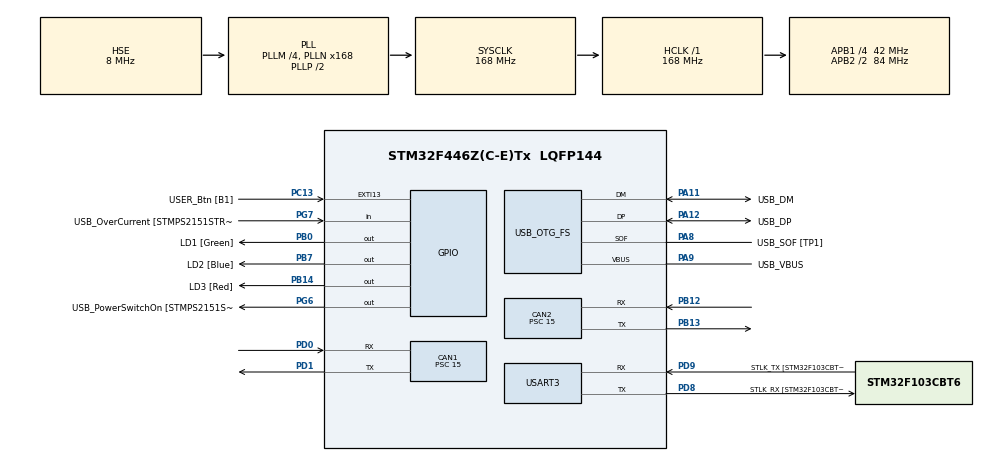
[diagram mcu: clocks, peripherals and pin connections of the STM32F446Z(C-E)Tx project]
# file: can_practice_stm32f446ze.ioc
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CAN1.BS1=CAN_BS1_2TQ
CAN1.BS2=CAN_BS2_2TQ
CAN1.CalculateBaudRate=560000
CAN1.CalculateTimeBit=1785
CAN1.CalculateTimeQuantum=357.14285714285717
CAN1.Prescaler=15
CAN2.BS1=CAN_BS1_2TQ
CAN2.BS2=CAN_BS2_2TQ
CAN2.CalculateBaudRate=560000
CAN2.CalculateTimeBit=1785
CAN2.CalculateTimeQuantum=357.14285714285717
CAN2.Prescaler=15
Mcu.Family=STM32F4
Mcu.Name=STM32F446Z(C-E)Tx
Mcu.Package=LQFP144
NVIC.CAN1_RX0_IRQn=true\:0\:0\:false\:false\:true\:true\:true
NVIC.CAN2_RX0_IRQn=true\:0\:0\:false\:false\:true\:true\:true
NVIC.PriorityGroup=NVIC_PRIORITYGROUP_4
PA10.GPIO_Label=USB_ID
PA10.Signal=USB_OTG_FS_ID
PA11.GPIO_Label=USB_DM
PA11.Mode=Device_Only
PA11.Signal=USB_OTG_FS_DM
PA12.GPIO_Label=USB_DP
PA12.Mode=Device_Only
PA12.Signal=USB_OTG_FS_DP
PA13.GPIO_Label=TMS
PA13.Mode=Serial_Wire
PA13.Signal=SYS_JTMS-SWDIO
PA14.GPIO_Label=TCK
PA14.Mode=Serial_Wire
PA14.Signal=SYS_JTCK-SWCLK
PA8.GPIO_Label=USB_SOF [TP1]
PA8.Mode=Activate_SOF_FS
PA8.Signal=USB_OTG_FS_SOF
PA9.GPIO_Label=USB_VBUS
PA9.Mode=Activate_VBUS
PA9.Signal=USB_OTG_FS_VBUS
PB0.GPIO_Label=LD1 [Green]
PB0.Signal=GPIO_Output
PB12.Mode=CAN_Activate
PB12.Signal=CAN2_RX
PB13.Mode=CAN_Activate
PB13.Signal=CAN2_TX
PB14.GPIO_Label=LD3 [Red]
PB14.Signal=GPIO_Output
PB7.GPIO_Label=LD2 [Blue]
PB7.Signal=GPIO_Output
PC13.GPIO_Label=USER_Btn [B1]
PC13.Signal=GPXTI13
PC14-OSC32_IN.Mode=LSE-External-Oscillator
PC14-OSC32_IN.Signal=RCC_OSC32_IN
PC15-OSC32_OUT.Mode=LSE-External-Oscillator
PC15-OSC32_OUT.Signal=RCC_OSC32_OUT
PD0.Mode=CAN_Activate
PD0.Signal=CAN1_RX
PD1.Mode=CAN_Activate
PD1.Signal=CAN1_TX
PD8.GPIO_Label=STLK_RX [STM32F103CBT6_PA3]
PD8.Mode=Asynchronous
PD8.Signal=USART3_TX
PD9.GPIO_Label=STLK_TX [STM32F103CBT6_PA2]
PD9.Mode=Asynchronous
PD9.Signal=USART3_RX
PG6.GPIO_Label=USB_PowerSwitchOn [STMPS2151STR_EN]
PG6.Signal=GPIO_Output
PG7.GPIO_Label=USB_OverCurrent [STMPS2151STR_FAULT]
PG7.Signal=GPIO_Input
PH0-OSC_IN.GPIO_Label=MCO [STM32F103CBT6_PA8]
PH0-OSC_IN.Mode=HSE-External-Clock-Source
PH0-OSC_IN.Signal=RCC_OSC_IN
PH1-OSC_OUT.Mode=HSE-External-Clock-Source
PH1-OSC_OUT.Signal=RCC_OSC_OUT
ProjectManager.HeapSize=0x200
ProjectManager.StackSize=0x400
ProjectManager.TargetToolchain=STM32CubeIDE
RCC.48MHZClocksFreq_Value=24000000
RCC.AHBFreq_Value=168000000
RCC.APB1CLKDivider=RCC_HCLK_DIV4
RCC.APB1Freq_Value=42000000
RCC.APB1TimFreq_Value=84000000
RCC.APB2CLKDivider=RCC_HCLK_DIV2
RCC.APB2Freq_Value=84000000
RCC.APB2TimFreq_Value=168000000
RCC.CortexFreq_Value=168000000
RCC.HCLKFreq_Value=168000000
RCC.HSE_VALUE=8000000
RCC.HSI_VALUE=16000000
RCC.PLLM=4
RCC.PLLMUL=RCC_PLL_MUL9
RCC.PLLN=168
RCC.PLLQ=7
RCC.PRESCALERUSB=RCC_USBCLKSOURCE_PLL_DIV1_5
RCC.SYSCLKFreq_VALUE=168000000
RCC.SYSCLKSource=RCC_SYSCLKSOURCE_PLLCLK
RCC.SYSCLKSourceVirtual=RCC_SYSCLKSOURCE_PLLCLK
RCC.USBFreq_Value=48000000
RCC.VCOOutputFreq_Value=336000000
USART3.VirtualMode=VM_ASYNC
USB_OTG_FS.VirtualMode=Device_Only
board=NUCLEO-F446ZE

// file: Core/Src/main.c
/* USER CODE BEGIN Header */
/**
  ******************************************************************************
  * @file           : main.c
  * @brief          : Main program body
  ******************************************************************************
  * @attention
  *
  * Copyright (c) 2022 STMicroelectronics.
  * All rights reserved.
  *
  * This software is licensed under terms that can be found in the LICENSE file
  * in the root directory of this software component.
  * If no LICENSE file comes with this software, it is provided AS-IS.
  *
  ******************************************************************************
  */
/* USER CODE END Header */
#include "main.h"
#include "can.h"
#include "usart.h"
#include "usb_otg.h"
#include "gpio.h"

/* USER CODE BEGIN Includes */
#include "can_task.h"
#include <string.h>
/* USER CODE END Includes */

/* USER CODE BEGIN PV */
uint8_t CAN1_TxData[8];
uint8_t CAN2_TxData[8];
uint8_t RxData0[8];
uint8_t RxData1[8];
CAN_RxHeaderTypeDef CAN1_RxHeader;

int rxfifo = -1;
/* USER CODE END PV */

void SystemClock_Config(void);
/* USER CODE BEGIN PFP */
void Blink_LED(const char* led_color, uint16_t on_duration, uint16_t off_duration);
/* USER CODE END PFP */

/* USER CODE BEGIN 0 */

void LedSteup()
{
	// Activate RX FIFO for each CAN
	HAL_CAN_Start(&hcan1);
	if (HAL_CAN_ActivateNotification(&hcan1, CAN_IT_RX_FIFO0_MSG_PENDING) != HAL_OK)
	{
		Error_Handler();
	}

	HAL_CAN_Start(&hcan2);
	if (HAL_CAN_ActivateNotification(&hcan2, CAN_IT_RX_FIFO0_MSG_PENDING) != HAL_OK)
	{
		Error_Handler();
	}
}

/*
 * Sends a message over the CAN bus from CAN2 to CAN1
 */
void LedLoop()
{
	uint8_t RxData[8];

	// Transmitting message over CAN2
	CAN2_TxData[0] = 50;
	CAN2_TxData[1] = 0xAA;
	CAN2_TxData[2] = 0x32;
	CAN2_TxData[3] = 0x55;

	CAN_write(&hcan2, 0x103, 4, CAN2_TxData);
	HAL_Delay(1);	// Delay so that message can be received by nodes

	if (rxfifo == 0)
	{
		memcpy(RxData, RxData0, sizeof(RxData0));
	}
	else if (rxfifo == 1)
	{
		memcpy(RxData, RxData1, sizeof(RxData1));
	}

	// Reading the message transmitted from CAN2
	if (CAN1_RxHeader.StdId == 0x103 && RxData[0] == 50)
	{
		// Blink the GREEN LED
		Blink_LED("green", 500, 500);
	}

	HAL_Delay(1);

	// Transmitting message over CAN1
	CAN1_TxData[0] = 20;
	CAN1_TxData[1] = 0xAA;

	CAN_write(&hcan1, 0x446, 2, CAN1_TxData);
	HAL_Delay(1);	// Delay so that message can be received by nodes

	if (rxfifo == 0)
	{
		memcpy(RxData, RxData0, sizeof(RxData0));
	}
	else if (rxfifo == 1)
	{
		memcpy(RxData, RxData1, sizeof(RxData1));
	}

	// Reading the message transmitted from CAN1
	if (CAN1_RxHeader.StdId == 0x446 && RxData[0] == 20)
	{
		// Blink the BLUE LED
		Blink_LED("blue", 500, 500);
	}

	HAL_Delay(1);
}

/* USER CODE END 0 */

int main(void)
{

  /* MCU Configuration--------------------------------------------------------*/

  /* Reset of all peripherals, Initializes the Flash interface and the Systick. */
  HAL_Init();

  /* Configure the system clock */
  SystemClock_Config();

  /* Initialize all configured peripherals */
  MX_GPIO_Init();
  MX_USART3_UART_Init();
  MX_USB_OTG_FS_PCD_Init();
  MX_CAN1_Init();
  MX_CAN2_Init();
  /* USER CODE BEGIN 2 */
  LedSteup();

  /* USER CODE END 2 */

  /* Infinite loop */
  while (1)
  {

    /* USER CODE BEGIN 3 */
	  LedLoop();
	  HAL_Delay(1000);
  }
  /* USER CODE END 3 */
}

void SystemClock_Config(void)
{
  RCC_OscInitTypeDef RCC_OscInitStruct = {0};
  RCC_ClkInitTypeDef RCC_ClkInitStruct = {0};

  /** Configure the main internal regulator output voltage
  */
  __HAL_RCC_PWR_CLK_ENABLE();
  __HAL_PWR_VOLTAGESCALING_CONFIG(PWR_REGULATOR_VOLTAGE_SCALE1);
  /** Initializes the RCC Oscillators according to the specified parameters
  * in the RCC_OscInitTypeDef structure.
  */
  RCC_OscInitStruct.OscillatorType = RCC_OSCILLATORTYPE_HSE;
  RCC_OscInitStruct.HSEState = RCC_HSE_BYPASS;
  RCC_OscInitStruct.PLL.PLLState = RCC_PLL_ON;
  RCC_OscInitStruct.PLL.PLLSource = RCC_PLLSOURCE_HSE;
  RCC_OscInitStruct.PLL.PLLM = 4;
  RCC_OscInitStruct.PLL.PLLN = 168;
  RCC_OscInitStruct.PLL.PLLP = RCC_PLLP_DIV2;
  RCC_OscInitStruct.PLL.PLLQ = 7;
  RCC_OscInitStruct.PLL.PLLR = 2;
  if (HAL_RCC_OscConfig(&RCC_OscInitStruct) != HAL_OK)
  {
    Error_Handler();
  }
  /** Initializes the CPU, AHB and APB buses clocks
  */
  RCC_ClkInitStruct.ClockType = RCC_CLOCKTYPE_HCLK|RCC_CLOCKTYPE_SYSCLK
                              |RCC_CLOCKTYPE_PCLK1|RCC_CLOCKTYPE_PCLK2;
  RCC_ClkInitStruct.SYSCLKSource = RCC_SYSCLKSOURCE_PLLCLK;
  RCC_ClkInitStruct.AHBCLKDivider = RCC_SYSCLK_DIV1;
  RCC_ClkInitStruct.APB1CLKDivider = RCC_HCLK_DIV4;
  RCC_ClkInitStruct.APB2CLKDivider = RCC_HCLK_DIV2;

  if (HAL_RCC_ClockConfig(&RCC_ClkInitStruct, FLASH_LATENCY_5) != HAL_OK)
  {
    Error_Handler();
  }
}

/* USER CODE BEGIN 4 */

/*
 * @brief Blinks the onboard LEDs for a specified duration
 *
 * @param led_color color of onboard LED to blink (blue, green, or red)
 * @param on_duration duration of LED staying on [milliseconds]
 * @param off_duratin duration of LED staying off [milliseconds]
 *
 * @retval None
 */
void Blink_LED(const char* led_color, uint16_t on_duration, uint16_t off_duration)
{
	if (!strcmp(led_color, "blue"))
	{
		HAL_GPIO_WritePin(GPIOB, GPIO_PIN_7, 1);
		HAL_Delay(on_duration);
		HAL_GPIO_WritePin(GPIOB, GPIO_PIN_7, 0);
		HAL_Delay(off_duration);
	}
	else if (!strcmp(led_color, "green"))
	{
		HAL_GPIO_WritePin(GPIOB, GPIO_PIN_0, 1);
		HAL_Delay(on_duration);
		HAL_GPIO_WritePin(GPIOB, GPIO_PIN_0, 0);
		HAL_Delay(off_duration);
	}
	else if (!strcmp(led_color, "red"))
	{
		HAL_GPIO_WritePin(GPIOB, GPIO_PIN_14, 1);
		HAL_Delay(on_duration);
		HAL_GPIO_WritePin(GPIOB, GPIO_PIN_14, 0);
		HAL_Delay(off_duration);
	}
	else
	{
		Error_Handler();
	}
}
/* USER CODE END 4 */

void Error_Handler(void)
{
  /* USER CODE BEGIN Error_Handler_Debug */
  /* User can add his own implementation to report the HAL error return state */
  __disable_irq();
  while (1)
  {
	  HAL_GPIO_WritePin(GPIOB, GPIO_PIN_14, 1);	// Light up the red LED
  }
  /* USER CODE END Error_Handler_Debug */
}
